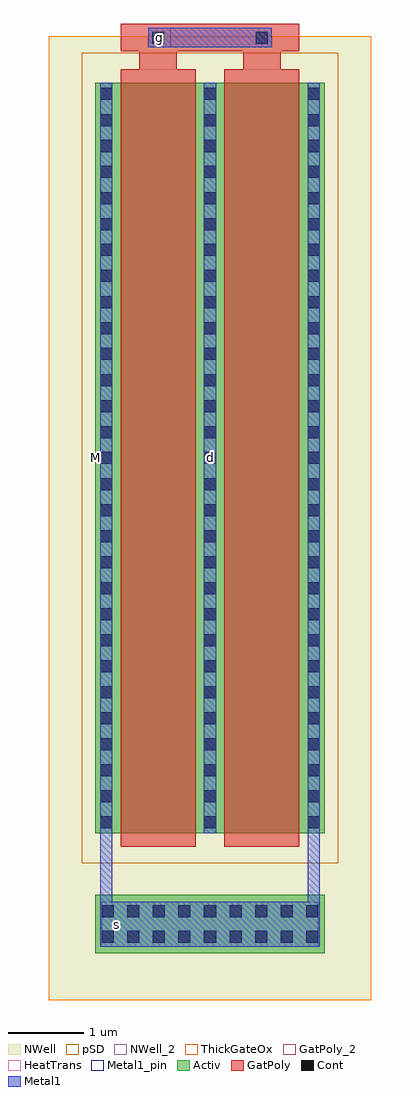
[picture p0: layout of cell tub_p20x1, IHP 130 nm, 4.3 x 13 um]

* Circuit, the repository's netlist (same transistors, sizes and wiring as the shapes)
* Extracted by KLayout with SG13CMOS5L LVS runset on : 31/10/2026 16:18

.SUBCKT tub_p20x1 d g s
M$1 s g d s sg13_hv_pmos L=1u W=20u AS=5.3p AD=5.3p PS=31.06u PD=31.06u rfmode=0
.ENDS tub_p20x1

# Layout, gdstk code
import gdstk
lib = gdstk.Library(unit=1e-6, precision=1e-09)
def R(c, l, rs):  # rectangles x0, y0, x1, y1
    for r in rs: c.add(gdstk.rectangle(r[:2], r[2:], *l))
def A(c, l, x, y, w, h, nx, ny, dx, dy):  # array of equal rectangles
    R(c, l, [(x+i*dx, y+j*dy, x+i*dx+w, y+j*dy+h) for i in range(nx) for j in range(ny)])
Activ = (1, 0)
GatPoly = (5, 0)
GatPoly_2 = (5, 2)
Cont = (6, 0)
Metal1 = (8, 0)
Metal1_pin = (8, 2)
pSD = (14, 0)
NWell = (31, 0)
NWell_2 = (31, 2)
ThickGateOx = (44, 0)
HeatTrans = (51, 0)

pmoshv = lib.new_cell('pmosHV')
A(pmoshv, Activ, 0, 0, 0.3, 0.3, 3, 1, 1.38, 0)
R(pmoshv, Activ, [(0,0,3.06,10)])
R(pmoshv, GatPoly, [(0.34,-0.18,1.34,10.18), (1.72,-0.18,2.72,10.18)])
R(pmoshv, GatPoly_2, [(0.34,-0.18,1.34,10.18)])
A(pmoshv, Cont, 0.07, 0.07, 0.16, 0.16, 3, 4, 1.38, 0.345)
A(pmoshv, Cont, 0.07, 1.455, 0.16, 0.16, 3, 3, 1.38, 0.345)
A(pmoshv, Cont, 0.07, 2.495, 0.16, 0.16, 3, 4, 1.38, 0.345)
A(pmoshv, Cont, 0.07, 3.88, 0.16, 0.16, 3, 3, 1.38, 0.345)
A(pmoshv, Cont, 0.07, 4.92, 0.16, 0.16, 3, 4, 1.38, 0.345)
A(pmoshv, Cont, 0.07, 6.305, 0.16, 0.16, 3, 3, 1.38, 0.345)
A(pmoshv, Cont, 0.07, 7.345, 0.16, 0.16, 3, 4, 1.38, 0.345)
A(pmoshv, Cont, 0.07, 8.73, 0.16, 0.16, 3, 3, 1.38, 0.345)
A(pmoshv, Cont, 0.07, 9.77, 0.16, 0.16, 3, 1, 1.38, 0)
A(pmoshv, Metal1, 0.07, 0, 0.16, 10, 3, 1, 1.38, 0)
R(pmoshv, Metal1_pin, [(0.07,0,0.23,10), (1.45,0,1.61,10)])
R(pmoshv, pSD, [(-0.18,-0.4,3.24,10.4)])
R(pmoshv, NWell, [(-0.62,-0.62,3.68,10.62)])
R(pmoshv, ThickGateOx, [(-0.62,-0.62,3.68,10.62)])
R(pmoshv, HeatTrans, [(0.34,-0.18,1.34,10.18), (1.72,-0.18,2.72,10.18)])
pmoshv.add(gdstk.Label('pmosHV', (0.84,5), layer=63, texttype=0))
pmoshv.add(gdstk.Label('pmos', (0.84,5), layer=51, texttype=0))
pmoshv.add(gdstk.Label('pmos', (2.22,5), layer=51, texttype=0))

ntap1 = lib.new_cell('ntap1')
R(ntap1, Activ, [(0,0,3.06,0.78)])
A(ntap1, Cont, 0.09, 0.14, 0.16, 0.16, 9, 2, 0.34, 0.34)
R(ntap1, Metal1, [(0.09,0.09,2.97,0.69)])
R(ntap1, Metal1_pin, [(0.09,0.09,2.97,0.69), (0.09,0.14,2.97,0.64)])
R(ntap1, NWell, [(-0.24,-0.24,3.3,1.02), (0,0,3.06,0.78)])
R(ntap1, NWell_2, [(0,0,3.06,0.78)])
ntap1.add(gdstk.Label('well', (1.53,0.01), layer=63, texttype=0))
ntap1.add(gdstk.Label('well', (1.53,0.01), layer=31, texttype=0))

tub_p20x1 = lib.new_cell('tub_p20x1')
R(tub_p20x1, GatPoly, [(0.59,10,1.09,10.43), (1.97,10,2.47,10.43), (0.34,10.42,2.72,10.78)])
R(tub_p20x1, Cont, [(0.76,10.52,0.92,10.68), (2.14,10.52,2.3,10.68)])
R(tub_p20x1, Metal1, [(0.07,-1.51,2.99,-0.91), (0.07,-1.01,0.23,0.05), (2.83,-1.01,2.99,0.05), (0.71,10.47,2.35,10.73)])
R(tub_p20x1, Metal1_pin, [(0.09,-1.51,0.49,-0.91), (1.45,4.75,1.61,5.25), (0.71,10.47,1.01,10.73)])
R(tub_p20x1, pSD, [(-0.18,-0.4,3.24,10.4)])
R(tub_p20x1, NWell, [(-0.62,-2.22,3.68,10.62)])
R(tub_p20x1, ThickGateOx, [(-0.62,-2.22,3.68,10.62)])
tub_p20x1.add(gdstk.Reference(pmoshv, (0,0)))
tub_p20x1.add(gdstk.Reference(ntap1, (0,-1.6)))
tub_p20x1.add(gdstk.Label('M', (0,5), layer=63, texttype=0))
tub_p20x1.add(gdstk.Label('g', (0.86,10.6), layer=8, texttype=25))
tub_p20x1.add(gdstk.Label('s', (0.29,-1.21), layer=8, texttype=25))
tub_p20x1.add(gdstk.Label('d', (1.53,5), layer=8, texttype=25))

lib.write_gds('tub_p20x1.gds')
